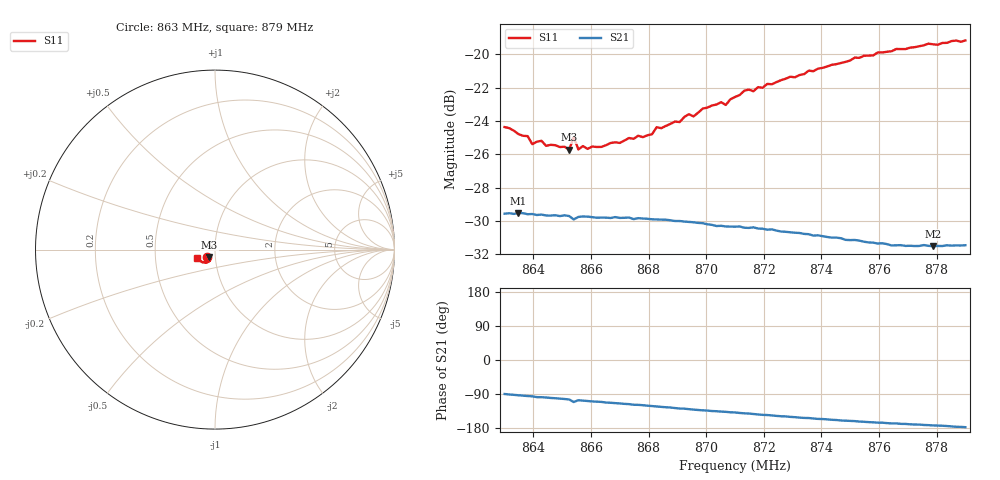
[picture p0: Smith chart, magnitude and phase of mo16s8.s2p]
# HZ S RI R 50
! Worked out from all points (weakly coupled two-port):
!   101 points, 863 MHz to 879 MHz, reference 50 ohm
!   highest |S21| = -29.52 dB at 863.48 MHz (marker M1); lowest = -31.5 dB at 877.88 MHz (marker M2)
!   lowest |S11| = -25.7 dB at 865.24 MHz (marker M3), VSWR 1.11, Z = 46.7 - j3.78 ohm
!   |S11| at or under -10 dB: start of sweep to end of sweep
!   S12 and S22 are empty: the file has one direction only
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8.63e8  -0.0463 -0.039  0.00019 -0.0333  0 0  0 0
8.6348e8  -0.0437 -0.0376  -0.0018 -0.0334  0 0  0 0
8.638e8  -0.0411 -0.0393  -0.00294 -0.033  0 0  0 0
8.6396e8  -0.0381 -0.0379  -0.00336 -0.033  0 0  0 0
8.6428e8  -0.0375 -0.0403  -0.00468 -0.0327  0 0  0 0
8.6444e8  -0.0372 -0.038  -0.00513 -0.0324  0 0  0 0
8.6524e8  -0.0324 -0.0403  -0.00798 -0.0317  0 0  0 0
8.654e8  -0.0357 -0.0437  -0.0114 -0.0299  0 0  0 0
8.6556e8  -0.0316 -0.0411  -0.00902 -0.0312  0 0  0 0
8.6572e8  -0.031 -0.043  -0.00967 -0.0312  0 0  0 0
8.67e8  -0.0276 -0.0467  -0.0135 -0.0294  0 0  0 0
8.6844e8  -0.0267 -0.0538  -0.0177 -0.0266  0 0  0 0
8.694e8  -0.0292 -0.0594  -0.0201 -0.0241  0 0  0 0
8.6956e8  -0.029 -0.0584  -0.0205 -0.0237  0 0  0 0
8.6988e8  -0.0299 -0.0619  -0.0212 -0.0228  0 0  0 0
8.7052e8  -0.033 -0.0639  -0.0221 -0.0212  0 0  0 0
8.7068e8  -0.0313 -0.0632  -0.0222 -0.0208  0 0  0 0
8.71e8  -0.0347 -0.066  -0.0228 -0.0202  0 0  0 0
8.7372e8  -0.0532 -0.0714  -0.0258 -0.0124  0 0  0 0
8.7644e8  -0.0782 -0.0658  -0.0261 -0.00581  0 0  0 0
8.7788e8  -0.0915 -0.056  -0.0264 -0.00341  0 0  0 0
8.79e8  -0.0997 -0.0469  -0.0267 -0.00127  0 0  0 0
